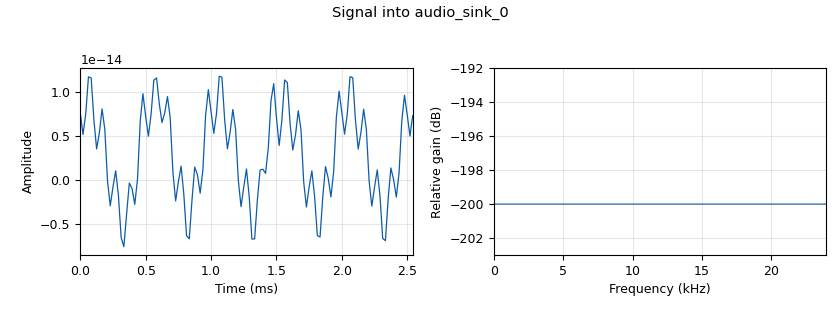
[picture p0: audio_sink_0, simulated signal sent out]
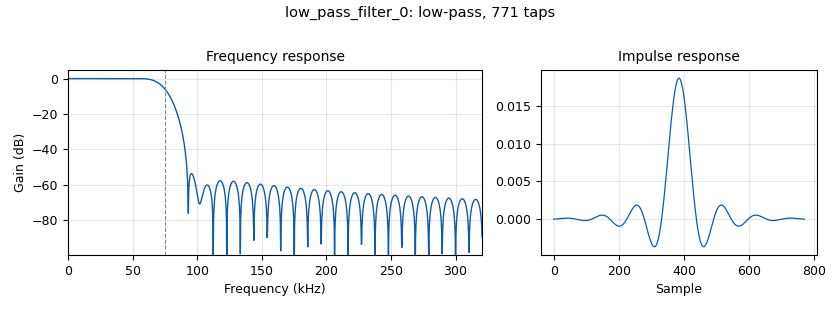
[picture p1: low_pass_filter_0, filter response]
options:
  parameters:
    generate_options: qt_gui
    id: hackrf
    output_language: python
    title: Not titled yet
  states: {}

blocks:
- name: analog_fm_demod_cf_0
  id: analog_fm_demod_cf
  parameters:
    audio_decim: '10'
    audio_pass: '15000'
    audio_stop: '16000'
    chan_rate: 480e3
    deviation: '75000'
    gain: '1.0'
    tau: '75e-6'
  states: {}
- name: analog_sig_source_x_0
  id: analog_sig_source_x
  parameters:
    amp: '1'
    freq: '100000000'
    offset: '0'
    phase: '0'
    samp_rate: '8000000'
    type: complex
    waveform: analog.GR_COS_WAVE
  states: {}
- name: audio_sink_0
  id: audio_sink
  parameters:
    samp_rate: '48000'
  states: {}
- name: blocks_multiply_const_vxx_0
  id: blocks_multiply_const_vxx
  parameters:
    const: '0.2'
    type: float
  states: {}
- name: low_pass_filter_0
  id: low_pass_filter
  parameters:
    cutoff_freq: 75e3
    decim: '50'
    gain: '1'
    samp_rate: '8000000'
    type: fir_filter_ccf
    width: '25000'
    win: window.WIN_HAMMING
  states: {}
- name: rational_resampler_xxx_0
  id: rational_resampler_xxx
  parameters:
    decim: '5'
    interp: '12'
    type: ccc
  states: {}

connections:
- [analog_fm_demod_cf_0, '0', blocks_multiply_const_vxx_0, '0']
- [analog_sig_source_x_0, '0', low_pass_filter_0, '0']
- [blocks_multiply_const_vxx_0, '0', audio_sink_0, '0']
- [low_pass_filter_0, '0', rational_resampler_xxx_0, '0']
- [rational_resampler_xxx_0, '0', analog_fm_demod_cf_0, '0']

metadata:
  file_format: 1
  grc_version: 3.10.9.2
